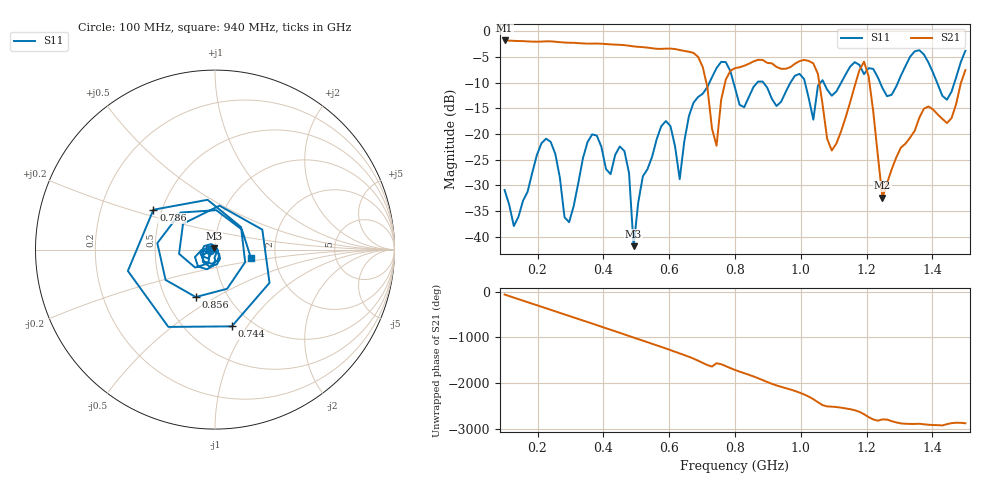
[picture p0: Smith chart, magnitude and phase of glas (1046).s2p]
! NanoVNA-App
! Date: 2025-09-25 16:03:36
! Start: 100MHz Stop: 1,5GHz Points: 101
! S-Parameter data: F S11 S21 S12 S22
# Hz S RI R 50
!  Frequency  S11_Real  S11_Imag  S21_Real  S21_Imag  S12_Real  S12_Imag  S22_Real  S22_Imag
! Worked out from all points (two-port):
!   101 points, 100 MHz to 1.5 GHz, reference 50 ohm
!   highest |S21| = -1.80 dB at 100 MHz (marker M1); lowest = -32.4 dB at 1.248 GHz (marker M2)
!   |S21| within 3 dB of the highest: start of sweep to 684.3 MHz
!   lowest |S11| = -41.9 dB at 492 MHz (marker M3), VSWR 1.02, Z = 49.5 + j0.61 ohm
!   |S11| at or under -10 dB: start of sweep to 722.4 MHz; 795.5 MHz to 867.6 MHz (72.06 MHz wide, 8.67 % of centre); 886.3 MHz to 968.6 MHz (82.35 MHz wide, 8.88 % of centre) (the widest 3 of 7)
!   S12 and S22 are empty: the file has one direction only
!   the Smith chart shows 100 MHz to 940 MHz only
!   S11 on the Smith chart (normalised r, x): 100 MHz: 0.94, -0.01; 744 MHz: 0.80, -0.85; 786 MHz: 0.45, +0.24; 856 MHz: 0.71, -0.41; 940 MHz: 1.49, -0.14
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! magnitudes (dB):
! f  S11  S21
! 100 MHz  -30.9  -1.8
! 128 MHz  -37.9  -1.9
! 226 MHz  -20.9  -2.0
! 296 MHz  -37.2  -2.2
! 338 MHz  -24.7  -2.4
! 464 MHz  -23.3  -2.7
! 492 MHz  -41.9  -3.0
! 576 MHz  -18.5  -3.4
! 632 MHz  -28.8  -3.7
! 702 MHz  -12.2  -7.0
! 744 MHz  -7.2  -22.3
! 786 MHz  -7.8  -7.7
! 800 MHz  -11.0  -7.2
! 856 MHz  -10.9  -5.9
! 940 MHz  -13.8  -7.3
! 996 MHz  -8.3  -5.8
! 1.038 GHz  -17.2  -6.3
! 1.094 GHz  -12.6  -23.2
! 1.192 GHz  -8.4  -5.9
! 1.248 GHz  -11.1  -32.4
! 1.276 GHz  -12.4  -26.9
! 1.5 GHz  -3.8  -7.6
